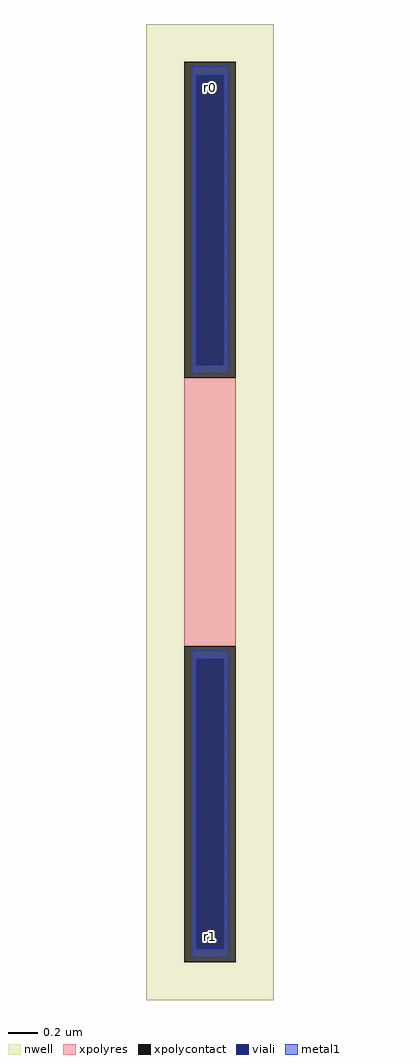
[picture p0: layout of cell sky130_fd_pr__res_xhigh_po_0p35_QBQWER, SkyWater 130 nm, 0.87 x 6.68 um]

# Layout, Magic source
magic
tech sky130A
magscale 1 2
<< nwell >>
rect -87 -668 87 668
<< xpolycontact >>
rect -35 184 35 616
rect -35 -616 35 -184
<< xpolyres >>
rect -35 -184 35 184
<< viali >>
rect -19 201 19 598
rect -19 -598 19 -201
<< metal1 >>
rect -25 598 25 610
rect -25 201 -19 598
rect 19 201 25 598
rect -25 189 25 201
rect -25 -201 25 -189
rect -25 -598 -19 -201
rect 19 -598 25 -201
rect -25 -610 25 -598
<< labels >>
flabel viali 0 581 0 581 0 FreeSans 80 0 0 0 r0
flabel viali 0 -581 0 -581 0 FreeSans 80 0 0 0 r1
<< properties >>
string gencell sky130_fd_pr__res_xhigh_po_0p35
string library sky130
string parameters w 0.350 l 2 m 1 nx 1 wmin 0.350 lmin 0.50 rho 2000 val 12.504k dummy 0 dw 0.0 term 188.2 sterm 0.0 caplen 0 wmax 0.350 guard 0 glc 0 grc 0 gtc 0 gbc 0 compatible {sky130_fd_pr__res_xhigh_po_0p35  sky130_fd_pr__res_xhigh_po_0p69 sky130_fd_pr__res_xhigh_po_1p41  sky130_fd_pr__res_xhigh_po_2p85 sky130_fd_pr__res_xhigh_po_5p73} snake 0 full_metal 0 n_guard 0 hv_guard 0 vias 1 viagb 0 viagt 0 viagl 0 viagr 0
<< end >>
